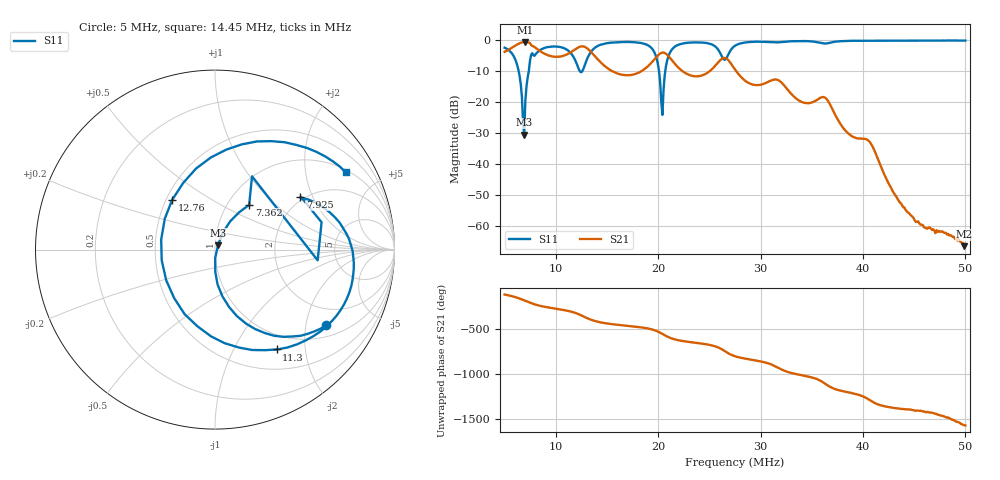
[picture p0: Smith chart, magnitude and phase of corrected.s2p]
! S11/S21 only; reverse parameters are placeholders. Device calibration unverified.
! [Saver CAL applied] C:\Users\aknya\MyProjects\rf-simulator\calibration2.cal | Ideal standards assumed | Input: NanoVNA F V2 profile | COM3 | 2026-09-08T11:31:24.4167083-04:00 | device calibration unverified
# HZ S RI R 50
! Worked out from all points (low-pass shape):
!   401 points, 5 MHz to 50 MHz, reference 50 ohm
!   highest |S21| = -0.64 dB at 7.025 MHz (marker M1); lowest = -66.5 dB at 49.89 MHz (marker M2)
!   |S21| within 3 dB of the highest: 5.115 MHz to 8.49 MHz (3.375 MHz wide, 49.6 % of centre); 11.61 MHz to 13.38 MHz (1.766 MHz wide, 14.1 % of centre)
!   lowest |S11| = -30.5 dB at 6.912 MHz (marker M3), VSWR 1.06, Z = 51.6 + j2.55 ohm
!   |S11| at or under -10 dB: 6.369 MHz to 7.365 MHz (995.8 kHz wide, 14.5 % of centre); 12.34 MHz to 12.59 MHz (249 kHz wide, 2 % of centre); 20.08 MHz to 20.69 MHz (617.6 kHz wide, 3.03 % of centre)
!   S12 and S22 are empty: the file has one direction only
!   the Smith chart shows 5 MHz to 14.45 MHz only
!   S11 on the Smith chart (normalised r, x): 5 MHz: 1.36, -2.62; 7.362 MHz: 1.26, +0.69; 7.925 MHz: 1.91, +1.62; 11.3 MHz: 0.77, -1.50; 12.76 MHz: 0.54, +0.34; 14.45 MHz: 1.10, +3.32
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5000000  0.6212 -0.4215  -0.3511 -0.5399  0 0  0 0
6125000  0.1735 -0.4127  -0.7448 -0.3584  0 0  0 0
6912500  0.0168 0.0246  -0.9223 0.1097  0 0  0 0
7025000  0.0438 0.0949  -0.9098 0.19  0 0  0 0
7362500  0.1904 0.2494  -0.81 0.4091  0 0  0 0
7925000  0.4748 0.2914  -0.4801 0.6003  0 0  0 0
1.13e7  0.3437 -0.5565  0.3604 0.4934  0 0  0 0
1.25375e7  -0.2998 0.0565  0.7878 0.0602  0 0  0 0
1.27625e7  -0.2389 0.2767  0.7741 -0.106  0 0  0 0
1.445e7  0.7275 0.43  0.1327 -0.4036  0 0  0 0
1.79375e7  0.8448 -0.3411  -0.1431 -0.2522  0 0  0 0
2.0075e7  -0.0179 -0.3173  -0.5825 -0.0327  0 0  0 0
2.04125e7  -0.0362 0.0501  -0.5975 0.1874  0 0  0 0
2.0975e7  0.387 0.3671  -0.3444 0.4372  0 0  0 0
2.28875e7  0.8983 -0.0873  0.0682 0.2714  0 0  0 0
2.615e7  0.4489 -0.3571  0.4869 -0.0246  0 0  0 0
2.75e7  0.7962 -0.1325  0.0366 -0.3325  0 0  0 0
3.50375e7  0.6476 -0.6935  0.074 0.0651  0 0  0 0
4.055e7  0.5124 -0.8254  -0.0223 0.00818  0 0  0 0
4.2575e7  0.4413 -0.8705  0.00127 0.00443  0 0  0 0
4.98875e7  0.1593 -0.9654  -0.000264 -0.000392  0 0  0 0
5e7  0.1561 -0.9663  -0.000296 -0.000388  0 0  0 0
